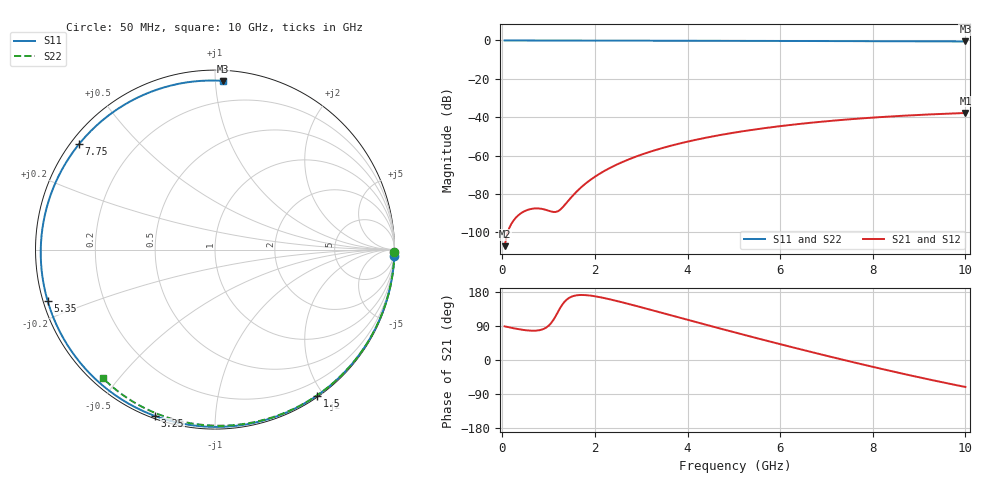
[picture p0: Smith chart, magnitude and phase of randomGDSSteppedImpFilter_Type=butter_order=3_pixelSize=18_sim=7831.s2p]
! freq	dB(S11)	phase(S11)	dB(S12)	phase(S12)
!  dB(S21)	phase(S21)	dB(S22)	phase(S22)
!S-par simulation data
#  GHz  S  DB  R 50
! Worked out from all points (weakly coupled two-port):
!   200 points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, 50 MHz to 10 GHz, reference 50 ohm
!   highest |S21| = -37.80 dB at 10 GHz (marker M1); lowest = -107.2 dB at 50 MHz (marker M2)
!   lowest |S11| = -0.5 dB at 10 GHz (marker M3), VSWR 32.96, Z = 3.19 + j52.4 ohm
!   |S11| at or under -10 dB: nowhere
!   |S22| runs from -0.4 to 0.0 dB; largest |S21 - S12| = 0
!   S11 on the Smith chart (normalised r, x): 50 MHz: 0, -60; 1.5 GHz: 0.02, -1.92; 3.25 GHz: 0.01, -0.70; 5.35 GHz: 0.01, -0.15; 7.75 GHz: 0.02, +0.34; 10 GHz: 0.06, +1.05
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0.05  -0.00 -1.9  -107.19 88.8  -107.19 88.8  -0.00 -0.8
0.35  -0.02 -13.3  -91.02 81.4  -91.02 81.4  -0.01 -5.3
0.7  -0.03 -26.4  -87.54 77.3  -87.54 77.3  -0.01 -10.5
1.1  -0.05 -41.0  -89.36 105.2  -89.36 105.2  -0.02 -16.5
1.5  -0.07 -55.1  -81.44 167.4  -81.44 167.4  -0.03 -22.4
1.55  -0.07 -56.9  -80.12 169.4  -80.12 169.4  -0.03 -23.2
1.75  -0.08 -63.7  -75.53 171.6  -75.53 171.6  -0.03 -26.1
2.05  -0.09 -73.6  -70.22 167.1  -70.22 167.1  -0.04 -30.5
2.4  -0.10 -84.7  -65.51 157.9  -65.51 157.9  -0.05 -35.6
2.8  -0.11 -96.8  -61.31 145.6  -61.31 145.6  -0.05 -41.3
3.25  -0.13 -109.8  -57.54 131.0  -57.54 131.0  -0.06 -47.6
3.4  -0.13 -113.9  -56.45 126.0  -56.45 126.0  -0.07 -49.7
4.25  -0.16 -136.3  -51.40 97.9  -51.40 97.9  -0.09 -61.4
5.05  -0.20 -155.8  -47.86 71.8  -47.86 71.8  -0.11 -72.0
5.35  -0.22 -162.9  -46.75 62.2  -46.75 62.2  -0.12 -75.9
6  -0.25 -177.9  -44.65 41.8  -44.65 41.8  -0.15 -84.1
6.7  -0.30 166.2  -42.79 20.2  -42.79 20.2  -0.18 -92.8
7.2  -0.33 154.8  -41.67 5.2  -41.67 5.2  -0.21 -98.8
7.75  -0.37 142.1  -40.62 -10.9  -40.62 -10.9  -0.24 -105.3
8.35  -0.41 128.0  -39.65 -28.0  -39.65 -28.0  -0.29 -112.3
9.2  -0.47 107.4  -38.58 -51.0  -38.58 -51.0  -0.36 -122.0
10  -0.53 87.2  -37.80 -71.2  -37.80 -71.2  -0.44 -131.0
